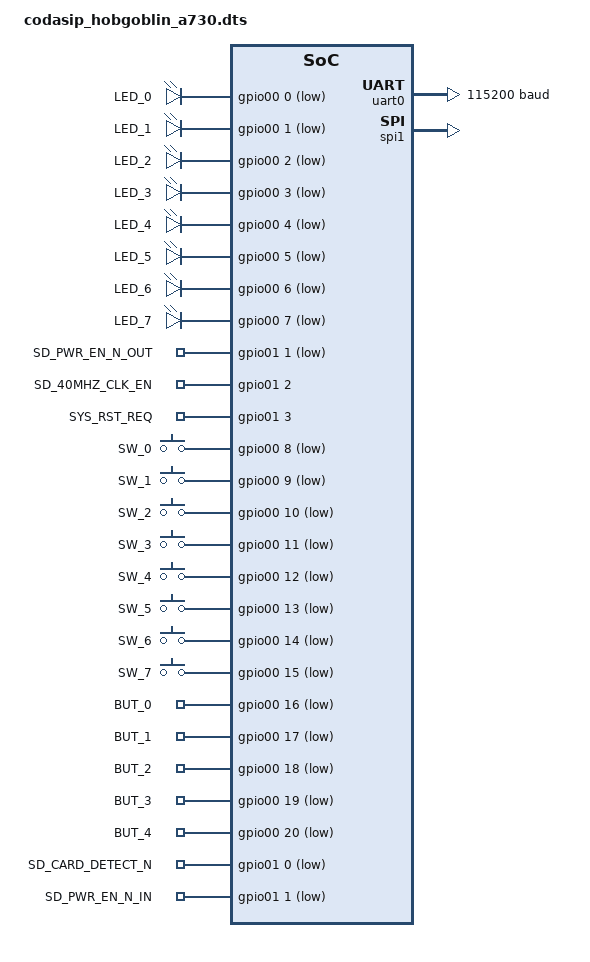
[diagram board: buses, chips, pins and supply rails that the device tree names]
/*
 * Copyright (c) 2024 Codasip s.r.o.
 *
 * SPDX-License-Identifier: Apache-2.0
 */

/* See: https://docs.zephyrproject.org/latest/hardware/porting/board_porting.html */

/dts-v1/;

#include <codasip/a730.dtsi>
#include <codasip/hobgoblin.dtsi>
#include <zephyr/devicetree/gpio.h>

/ {
        compatible = "codasip,hobgoblin-a730";

        aliases {
                led0 = &led0;
                led1 = &led1;
                led2 = &led2;
                led3 = &led3;
                led4 = &led4;
                led5 = &led5;
                led6 = &led6;
                led7 = &led7;

                sd-pwr-en-n-out  = &sd_pwr_en_n_out;
                sd-fast-clk-en   = &sd_40mhz_clk_en;
                sys-rst-req      = &sys_rst_req;

                sw0 = &sw0;
                sw1 = &sw1;
                sw2 = &sw2;
                sw3 = &sw3;
                sw4 = &sw4;
                sw5 = &sw5;
                sw6 = &sw6;
                sw7 = &sw7;

                sd-card-detect-n = &sd_card_detect_n;
                sd-pwr-en-n-in   = &sd_pwr_en_n_in;
        };

        chosen {
                zephyr,console = &uart0;
                zephyr,shell-uart = &uart0;
                zephyr,sram = &sram0;
                /* zephyr,sram = &dram0; */
        };

        outputs {
            /* GPIO00 = SWITCH/LED */
                compatible = "gpio-leds";
                led0: led0 {
                        gpios = <&gpio00 0 GPIO_ACTIVE_LOW>;
                        label = "LED_0";
                };
                led1: led1 {
                        gpios = <&gpio00 1 GPIO_ACTIVE_LOW>;
                        label = "LED_1";
                };
                led2: led2 {
                        gpios = <&gpio00 2 GPIO_ACTIVE_LOW>;
                        label = "LED_2";
                };
                led3: led3 {
                        gpios = <&gpio00 3 GPIO_ACTIVE_LOW>;
                        label = "LED_3";
                };
                led4: led4 {
                        gpios = <&gpio00 4 GPIO_ACTIVE_LOW>;
                        label = "LED_4";
                };
                led5: led5 {
                        gpios = <&gpio00 5 GPIO_ACTIVE_LOW>;
                        label = "LED_5";
                };
                led6: led6 {
                        gpios = <&gpio00 6 GPIO_ACTIVE_LOW>;
                        label = "LED_6";
                };
                led7: led7 {
                        gpios = <&gpio00 7 GPIO_ACTIVE_LOW>;
                        label = "LED_7";
                };

            /* GPIO01 - AUX */
                sd_pwr_en_n_out: sd_pwr_en_n_out {
                        gpios = <&gpio01 1 GPIO_ACTIVE_LOW>;
                        label = "SD_PWR_EN_N_OUT";
                };

                sd_40mhz_clk_en: sd_40mhz_clk_en {
                        gpios = <&gpio01 2 GPIO_ACTIVE_HIGH>;
                        label = "SD_40MHZ_CLK_EN";
                };

                sys_rst_req: sys_rst_req {
                        gpios = <&gpio01 3 GPIO_ACTIVE_HIGH>;
                        label = "SYS_RST_REQ";
                };
        };

        inputs {
            /* GPIO00 = SWITCH/LED */
                compatible = "gpio-keys";
                sw0: sw0 {
                        gpios = <&gpio00  8 GPIO_ACTIVE_LOW>;
                        label = "SW_0";
                };
                sw1: sw1 {
                        gpios = <&gpio00  9 GPIO_ACTIVE_LOW>;
                        label = "SW_1";
                };
                sw2: sw2 {
                        gpios = <&gpio00 10 GPIO_ACTIVE_LOW>;
                        label = "SW_2";
                };
                sw3: sw3 {
                        gpios = <&gpio00 11 GPIO_ACTIVE_LOW>;
                        label = "SW_3";
                };
                sw4: sw4 {
                        gpios = <&gpio00 12 GPIO_ACTIVE_LOW>;
                        label = "SW_4";
                };
                sw5: sw5 {
                        gpios = <&gpio00 13 GPIO_ACTIVE_LOW>;
                        label = "SW_5";
                };
                sw6: sw6 {
                        gpios = <&gpio00 14 GPIO_ACTIVE_LOW>;
                        label = "SW_6";
                };
                sw7: sw7 {
                        gpios = <&gpio00 15 GPIO_ACTIVE_LOW>;
                        label = "SW_7";
                };

                but0: but0 {
                        gpios = <&gpio00 16 GPIO_ACTIVE_LOW>;
                        label = "BUT_0";
                };
                but1: but1 {
                        gpios = <&gpio00 17 GPIO_ACTIVE_LOW>;
                        label = "BUT_1";
                };
                but2: but2 {
                        gpios = <&gpio00 18 GPIO_ACTIVE_LOW>;
                        label = "BUT_2";
                };
                but3: but3 {
                        gpios = <&gpio00 19 GPIO_ACTIVE_LOW>;
                        label = "BUT_3";
                };
                but4: but4 {
                        gpios = <&gpio00 20 GPIO_ACTIVE_LOW>;
                        label = "BUT_4";
                };

            /* GPIO01 - AUX */
                sd_card_detect_n: sd_card_detect_n {
                        gpios = <&gpio01 0 GPIO_ACTIVE_LOW>;
                        label = "SD_CARD_DETECT_N";
                };

                sd_pwr_en_n_in: sd_pwr_en_n_in {
                        gpios = <&gpio01 1 GPIO_ACTIVE_LOW>;
                        label = "SD_PWR_EN_N_IN";
                };
        };
};

&uart0 {
    status = "okay";
    current-speed = <115200>;
};

&gpio00 {
    status = "okay";
};

&gpio01 {
    status = "okay";
};

&spi1 {
    status = "okay";
};
